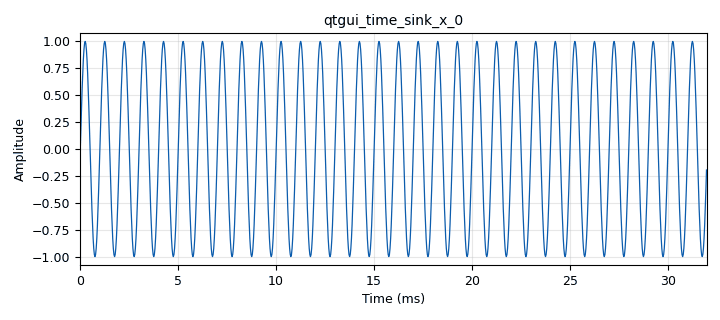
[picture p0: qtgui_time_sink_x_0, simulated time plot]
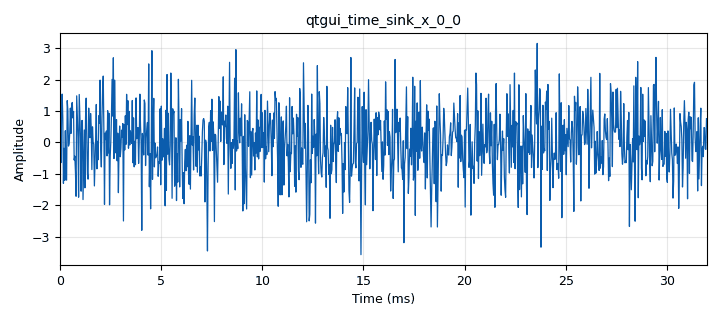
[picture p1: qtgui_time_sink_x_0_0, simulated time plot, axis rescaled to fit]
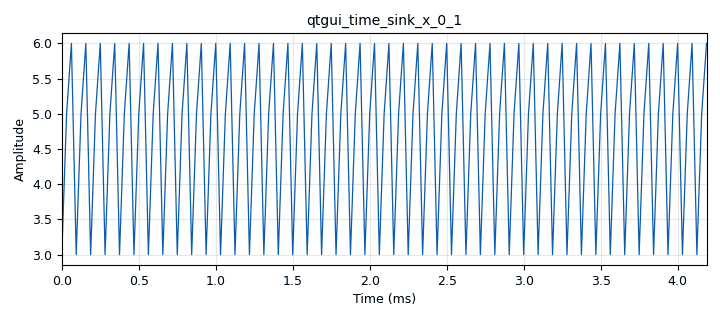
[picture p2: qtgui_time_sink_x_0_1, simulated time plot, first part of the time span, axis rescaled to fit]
options:
  parameters:
    author: jctib
    generate_options: qt_gui
    id: default
    output_language: python
    title: Not titled yet
  states: {}

blocks:
- name: samp_rate
  id: variable
  parameters:
    value: '32000'
  states: {}
- name: analog_noise_source_x_0
  id: analog_noise_source_x
  parameters:
    amp: '1'
    noise_type: analog.GR_GAUSSIAN
    seed: '0'
    type: float
  states: {}
- name: analog_sig_source_x_0
  id: analog_sig_source_x
  parameters:
    amp: '1'
    freq: '1000'
    offset: '0'
    phase: '0'
    samp_rate: samp_rate
    type: float
    waveform: analog.GR_SIN_WAVE
  states: {}
- name: blocks_vector_source_x_0
  id: blocks_vector_source_x
  parameters:
    repeat: 'True'
    type: float
    vector: (6, 3, 5)
  states: {}
- name: epy_block_0
  id: epy_block
  parameters:
    _source_code: |
      """
      Embedded Python Blocks:

      Each time this file is saved, GRC will instantiate the first class it finds
      to get ports and parameters of your block. The arguments to __init__  will
      be the parameters. All of them are required to have default values!
      """

      import numpy as np
      from gnuradio import gr


      class blk(gr.sync_block):  # other base classes are basic_block, decim_block, interp_block
          """Embedded Python Block example - a simple multiply const"""

          def __init__(self, example_param=1.0):  # only default arguments here
              """arguments to this function show up as parameters in GRC"""
              gr.sync_block.__init__(
                  self,
                  name='Embedded Python Block',   # will show up in GRC
                  in_sig=[np.complex64],
                  out_sig=[np.complex64]
              )
              # if an attribute with the same name as a parameter is found,
              # a callback is registered (properties work, too).
              self.example_param = example_param

          def work(self, input_items, output_items):
              """example: multiply with constant"""
              output_items[0][:] = input_items[0] * self.example_param
              return len(output_items[0])
    example_param: ''
  states: {}
- name: qtgui_time_sink_x_0
  id: qtgui_time_sink_x
  parameters:
    size: '1024'
    srate: samp_rate
    type: float
  states: {}
- name: qtgui_time_sink_x_0_0
  id: qtgui_time_sink_x
  parameters:
    size: '1024'
    srate: samp_rate
    type: float
  states: {}
- name: qtgui_time_sink_x_0_1
  id: qtgui_time_sink_x
  parameters:
    size: '1024'
    srate: samp_rate
    type: float
  states: {}

connections:
- [analog_noise_source_x_0, '0', qtgui_time_sink_x_0_0, '0']
- [analog_sig_source_x_0, '0', qtgui_time_sink_x_0, '0']
- [blocks_vector_source_x_0, '0', qtgui_time_sink_x_0_1, '0']

metadata:
  file_format: 1
  grc_version: 3.10.7.0
